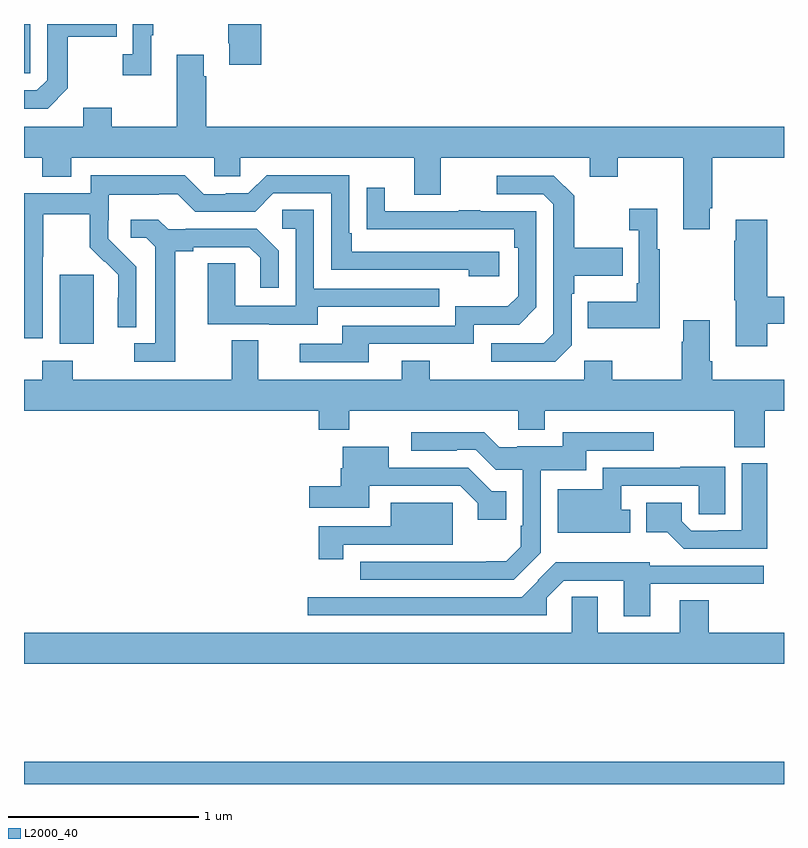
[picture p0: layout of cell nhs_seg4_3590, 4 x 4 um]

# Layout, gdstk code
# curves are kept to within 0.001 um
import gdstk
lib = gdstk.Library(unit=1e-6, precision=1e-09)
def R(c, l, rs):  # rectangles x0, y0, x1, y1
    for r in rs: c.add(gdstk.rectangle(r[:2], r[2:], *l))
def P(c, l, *ps):  # polygons
    for p in ps: c.add(gdstk.Polygon(p, *l))
L2000_40 = (2000, 40)

nhs_seg4_3590 = lib.new_cell('nhs_seg4_3590')
R(nhs_seg4_3590, L2000_40, [(301,750.9,305,751.016), (301.187,753.218,301.366,753.579), (301,754.641,301.032,754.9)])
P(nhs_seg4_3590, L2000_40, [(301.231,754.561),(301.231,754.834),(301.487,754.834),(301.487,754.9),(301.122,754.9),(301.122,754.605),(301.068,754.551),(301,754.551),(301,754.455),(301.125,754.455)],
  [(302.249,754.9),(302.074,754.9),(302.074,754.798),(302.081,754.798),(302.081,754.686),(302.249,754.686)],
  [(301.669,754.841),(301.681,754.841),(301.681,754.9),(301.572,754.9),(301.572,754.742),(301.521,754.742),(301.521,754.629),(301.669,754.629)],
  [(304.609,753.931),(304.622,753.931),(304.622,754.196),(305,754.196),(305,754.36),(301.958,754.36),(301.958,754.625),(301.945,754.625),(301.945,754.738),(301.805,754.738),(301.805,754.36),(301.461,754.36),(301.461,754.459),(301.313,754.459),(301.313,754.36),(301,754.36),(301,754.196),(301.097,754.196),(301.097,754.097),(301.249,754.097),(301.249,754.196),(302.001,754.196),(302.001,754.098),(302.139,754.098),(302.139,754.196),(303.053,754.196),(303.053,754.002),(303.193,754.002),(303.193,754.196),(303.977,754.196),(303.977,754.097),(304.125,754.097),(304.125,754.196),(304.469,754.196),(304.469,753.819),(304.609,753.819)],
  [(301.002,753.912),(301.002,753.345),(301,753.345),(301,753.247),(301.098,753.247),(301.098,753.676),(301.101,753.676),(301.101,753.9),(301.345,753.9),(301.345,753.725),(301.422,753.648),(301.425,753.651),(301.496,753.581),(301.496,753.458),(301.494,753.458),(301.494,753.304),(301.59,753.304),(301.59,753.622),(301.444,753.77),(301.444,753.867),(301.446,753.867),(301.446,754.001),(301.709,754.001),(301.709,754.005),(301.809,754.005),(301.902,753.912),(302.217,753.912),(302.313,754.008),(302.616,754.008),(302.616,753.606),(303.341,753.606),(303.341,753.572),(303.502,753.572),(303.502,753.702),(302.725,753.702),(302.725,753.799),(302.712,753.799),(302.712,754.104),(302.277,754.104),(302.181,754.008),(302.063,754.008),(302.063,754.005),(301.947,754.005),(301.847,754.105),(301.35,754.105),(301.35,754.008),(301,754.008),(301,753.912)],
  [(303.882,753.21),(303.882,753.479),(303.895,753.479),(303.895,753.575),(304.151,753.575),(304.151,753.723),(303.895,753.723),(303.895,753.995),(303.789,754.101),(303.489,754.101),(303.489,754.005),(303.732,754.005),(303.786,753.951),(303.786,753.27),(303.735,753.219),(303.459,753.219),(303.459,753.123),(303.795,753.123)],
  [(302.815,753.216),(303.366,753.216),(303.366,753.318),(303.606,753.318),(303.696,753.408),(303.696,753.915),(303.401,753.915),(303.401,753.92),(303.289,753.92),(303.289,753.915),(302.899,753.915),(302.899,754.039),(302.803,754.039),(302.803,753.82),(303.58,753.819),(303.58,753.722),(303.6,753.722),(303.6,753.468),(303.547,753.415),(303.27,753.415),(303.27,753.312),(302.675,753.312),(302.675,753.216),(302.451,753.216),(302.451,753.12),(302.815,753.12)],
  [(304.345,753.715),(304.333,753.715),(304.333,753.928),(304.185,753.928),(304.185,753.815),(304.236,753.815),(304.236,753.535),(304.224,753.535),(304.224,753.439),(303.967,753.439),(303.967,753.299),(304.345,753.299)],
  [(302.545,753.411),(303.185,753.411),(303.185,753.507),(302.526,753.507),(302.526,753.923),(302.358,753.923),(302.358,753.822),(302.43,753.822),(302.43,753.417),(302.112,753.417),(302.112,753.641),(301.967,753.641),(301.967,753.321),(302.291,753.321),(302.291,753.317),(302.545,753.317)],
  [(304.913,753.322),(305,753.322),(305,753.464),(304.913,753.464),(304.913,753.871),(304.745,753.871),(304.745,753.758),(304.738,753.758),(304.738,753.447),(304.745,753.447),(304.745,753.204),(304.913,753.204)],
  [(301.795,753.704),(301.891,753.704),(301.891,753.726),(302.186,753.726),(302.243,753.669),(302.243,753.513),(302.34,753.513),(302.34,753.706),(302.224,753.822),(301.852,753.822),(301.852,753.819),(301.758,753.819),(301.706,753.871),(301.563,753.871),(301.563,753.774),(301.644,753.774),(301.691,753.727),(301.691,753.219),(301.581,753.219),(301.581,753.123),(301.795,753.123)],
  [(304.898,752.864),(305,752.864),(305,753.028),(304.622,753.028),(304.622,753.124),(304.609,753.124),(304.609,753.34),(304.469,753.34),(304.469,753.227),(304.462,753.227),(304.462,753.028),(304.095,753.028),(304.095,753.127),(303.948,753.127),(303.948,753.028),(303.135,753.028),(303.135,753.127),(302.987,753.127),(302.987,753.028),(302.233,753.028),(302.233,753.236),(302.093,753.236),(302.093,753.028),(301.257,753.028),(301.257,753.127),(301.097,753.127),(301.097,753.028),(301,753.028),(301,752.864),(302.552,752.864),(302.552,752.765),(302.712,752.765),(302.712,752.864),(303.602,752.864),(303.602,752.765),(303.742,752.765),(303.742,752.864),(304.738,752.864),(304.738,752.672),(304.898,752.672)],
  [(303.72,752.117),(303.72,752.552),(303.958,752.552),(303.958,752.655),(304.315,752.655),(304.315,752.751),(303.836,752.751),(303.836,752.677),(303.595,752.677),(303.595,752.673),(303.501,752.673),(303.422,752.752),(303.039,752.752),(303.039,752.655),(303.278,752.655),(303.278,752.658),(303.378,752.658),(303.483,752.553),(303.624,752.553),(303.624,752.26),(303.614,752.26),(303.614,752.148),(303.538,752.073),(303.434,752.073),(303.434,752.07),(302.769,752.07),(302.769,751.974),(303.577,751.974)],
  [(303.539,752.44),(303.462,752.44),(303.337,752.565),(302.92,752.565),(302.92,752.674),(302.678,752.674),(302.678,752.562),(302.666,752.562),(302.666,752.468),(302.502,752.468),(302.502,752.354),(302.818,752.354),(302.818,752.469),(303.297,752.469),(303.389,752.377),(303.389,752.292),(303.539,752.292)],
  [(304.913,752.587),(304.778,752.587),(304.778,752.235),(304.654,752.235),(304.654,752.232),(304.512,752.232),(304.461,752.283),(304.461,752.38),(304.276,752.38),(304.276,752.225),(304.386,752.225),(304.472,752.139),(304.913,752.139)],
  [(304.191,752.344),(304.144,752.344),(304.144,752.469),(304.551,752.469),(304.551,752.32),(304.69,752.32),(304.69,752.57),(304.454,752.57),(304.454,752.565),(304.047,752.565),(304.047,752.452),(303.809,752.452),(303.809,752.222),(304.191,752.222)],
  [(302.68,752.16),(303.034,752.16),(303.034,752.159),(303.256,752.159),(303.256,752.38),(302.93,752.38),(302.93,752.256),(302.55,752.256),(302.55,752.082),(302.68,752.082)],
  [(304.297,751.953),(304.894,751.953),(304.894,752.049),(304.293,752.049),(304.293,752.068),(303.799,752.068),(303.703,751.972),(303.706,751.969),(303.621,751.884),(302.493,751.884),(302.493,751.788),(303.75,751.788),(303.75,751.881),(303.84,751.971),(304.157,751.971),(304.157,751.782),(304.297,751.782)],
  [(305,751.696),(304.604,751.696),(304.604,751.868),(304.451,751.868),(304.451,751.696),(304.021,751.696),(304.021,751.886),(303.882,751.886),(303.882,751.696),(301,751.696),(301,751.532),(305,751.532)])

lib.write_gds('nhs_seg4_3590.gds')
